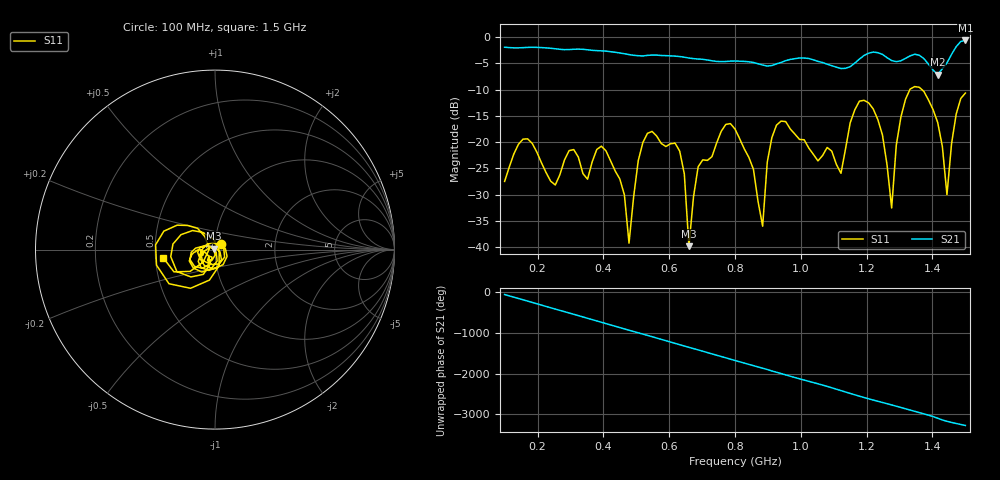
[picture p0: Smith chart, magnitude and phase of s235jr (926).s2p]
! NanoVNA-App
! Date: 2025-09-25 15:11:22
! Start: 100MHz Stop: 1,5GHz Points: 101
! S-Parameter data: F S11 S21 S12 S22
# Hz S RI R 50
!  Frequency  S11_Real  S11_Imag  S21_Real  S21_Imag  S12_Real  S12_Imag  S22_Real  S22_Imag
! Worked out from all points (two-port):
!   101 points, 100 MHz to 1.5 GHz, reference 50 ohm
!   highest |S21| = -0.68 dB at 1.5 GHz (marker M1); lowest = -7.2 dB at 1.416 GHz (marker M2)
!   |S21| within 3 dB of the highest: start of sweep to 621.5 MHz; 1.189 GHz to 1.256 GHz (66.88 MHz wide, 5.47 % of centre) (the widest 2 of 4)
!   lowest |S11| = -39.8 dB at 660 MHz (marker M3), VSWR 1.02, Z = 49.2 + j0.602 ohm
!   |S11| at or under -10 dB: start of sweep to 1.331 GHz; 1.367 GHz to end of sweep
!   S12 and S22 are empty: the file has one direction only
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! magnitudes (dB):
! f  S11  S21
! 100 MHz  -27.5  -2.0
! 156 MHz  -19.4  -2.0
! 338 MHz  -26.0  -2.4
! 408 MHz  -21.7  -2.7
! 478 MHz  -39.2  -3.4
! 520 MHz  -20.1  -3.6
! 576 MHz  -20.3  -3.5
! 632 MHz  -21.7  -3.7
! 660 MHz  -39.8  -4.0
! 688 MHz  -24.7  -4.2
! 800 MHz  -17.5  -4.6
! 884 MHz  -36.0  -5.3
! 926 MHz  -16.8  -5.1
! 1.038 GHz  -22.3  -4.4
! 1.122 GHz  -25.9  -6.0
! 1.206 GHz  -12.5  -3.1
! 1.276 GHz  -32.5  -4.5
! 1.29 GHz  -20.6  -4.7
! 1.332 GHz  -9.9  -3.6
! 1.416 GHz  -16.3  -7.2
! 1.444 GHz  -30.0  -4.9
! 1.5 GHz  -10.7  -0.7
